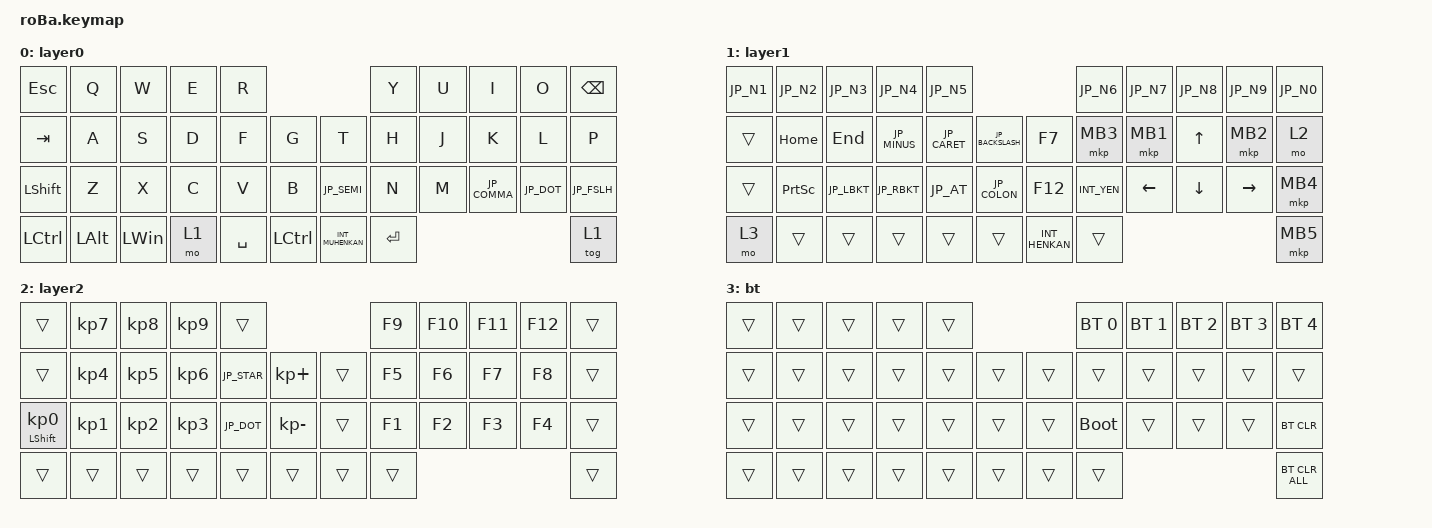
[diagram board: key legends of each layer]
#include <behaviors.dtsi>
#include <dt-bindings/zmk/bt.h>
#include <dt-bindings/zmk/keys.h>
#include <dt-bindings/zmk/pointing.h>
#include "keys_jp.h"

&mt {
    flavor = "balanced";
    quick-tap-ms = <0>;
};

&trackball {
    // automouse-layer = <4>;
    scroll-layers = <2>;

    // arrows {
    //     layers = <3>;
    //     bindings =
    //         <&kp RIGHT_ARROW>,
    //         <&kp LEFT_ARROW>,
    //         <&kp UP_ARROW>,
    //         <&kp DOWN_ARROW>;

    //     tick = <10>;
    //     wait-ms = <5>;
    //     tap-ms = <5>;
    // };

    //scroll {
    //    layers = <2>;
    //    bindings =
    //        <&msc SCRL_RIGHT>,
    //        <&msc SCRL_LEFT>,
    //        <&msc SCRL_UP>,
    //        <&msc SCRL_DOWN>;
    //    wait-ms = <5>;
    //    tap-ms = <5>;
    //};
};

/ {
    combos {
        compatible = "zmk,combos";
    };

    macros {
        to_layer_0: to_layer_0 {
            compatible = "zmk,behavior-macro-one-param";
            #binding-cells = <1>;
            bindings = <&to 0 &macro_param_1to1 &kp MACRO_PLACEHOLDER>;
            label = "TO_LAYER_0";
        };
    };

    behaviors {
        lt_to_layer_0: lt_to_layer_0 {
            compatible = "zmk,behavior-hold-tap";
            label = "LAYER_TAP_TO_0";
            bindings = <&mo>, <&to_layer_0>;

            #binding-cells = <2>;
            tapping-term-ms = <200>;
        };
    };

    keymap {
        compatible = "zmk,keymap";

        // default

        layer0 {
            bindings = <
&kp ESC         &kp Q         &kp W         &kp E  &kp R                                       &kp Y      &kp U  &kp I      &kp O    &kp BACKSPACE
&kp TAB         &kp A         &kp S         &kp D  &kp F      &kp G          &kp T             &kp H      &kp J  &kp K      &kp L    &kp P
&kp LEFT_SHIFT  &kp Z         &kp X         &kp C  &kp V      &kp B          &kp JP_SEMI       &kp N      &kp M  &kp JP_COMMA  &kp JP_DOT  &kp JP_FSLH
&kp LCTRL       &kp LEFT_ALT  &kp LEFT_WIN  &mo 1  &kp SPACE  &kp LCTRL      &kp INT_MUHENKAN  &kp ENTER                             &tog 1
            >;
        };

        // number, symbol, mouse

        layer1 {
            bindings = <
&kp JP_N1  &kp JP_N2        &kp JP_N3       &kp JP_N4        &kp JP_N5                                                &kp JP_N6     &kp JP_N7       &kp JP_N8       &kp JP_N9        &kp JP_N0
&trans  &kp HOME         &kp END         &kp JP_MINUS        &kp JP_CARET   &kp JP_BACKSLASH               &kp F7          &mkp MB3      &mkp MB1        &kp UP_ARROW    &mkp MB2         &mo 2
&trans  &kp PRINTSCREEN  &kp JP_LBKT     &kp JP_RBKT      &kp JP_AT    &kp JP_COLON      &kp F12         &kp INT_YEN       &kp LEFT_ARROW  &kp DOWN_ARROW  &kp RIGHT_ARROW  &mkp MB4
&mo 3   &trans           &trans          &trans           &trans         &trans                    &kp INT_HENKAN  &trans                                                         &mkp MB5
            >;
        };

        // function, scroll

        layer2 {
            bindings = <
&trans                      &kp KP_N7        &kp KP_N8        &kp KP_N9        &trans                                  &kp F9  &kp F10  &kp F11  &kp F12  &trans
&trans                      &kp KP_NUMBER_4  &kp KP_NUMBER_5  &kp KP_NUMBER_6  &kp JP_STAR   &kp KP_PLUS       &trans  &kp F5  &kp F6   &kp F7   &kp F8   &trans
&mt LEFT_SHIFT KP_NUMBER_0  &kp KP_NUMBER_1  &kp KP_NUMBER_2  &kp KP_NUMBER_3  &kp JP_DOT    &kp KP_MINUS      &trans  &kp F1  &kp F2   &kp F3   &kp F4   &trans
&trans                      &trans           &trans           &trans           &trans        &trans            &trans  &trans                             &trans
            >;
        };

        bt {
            bindings = <
&trans  &trans  &trans  &trans  &trans                           &bt BT_SEL 0  &bt BT_SEL 1  &bt BT_SEL 2  &bt BT_SEL 3  &bt BT_SEL 4
&trans  &trans  &trans  &trans  &trans  &trans      &trans   &trans        &trans        &trans        &trans        &trans
&trans  &trans  &trans  &trans  &trans  &trans      &trans  &bootloader   &trans        &trans        &trans        &bt BT_CLR
&trans  &trans  &trans  &trans  &trans  &trans      &trans       &trans                                                  &bt BT_CLR_ALL
            >;
        };
    };
};
